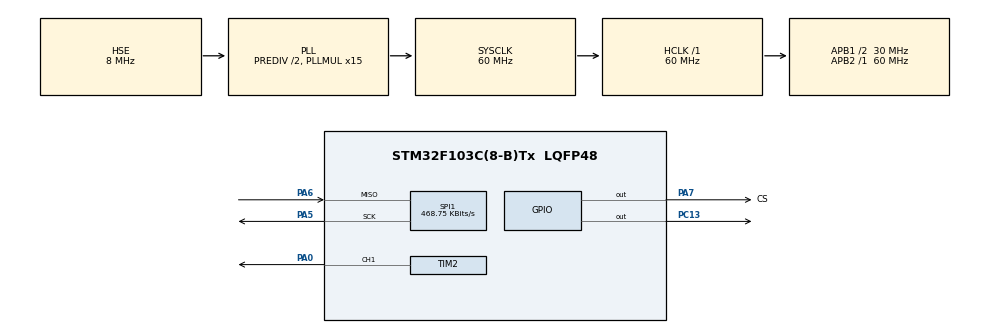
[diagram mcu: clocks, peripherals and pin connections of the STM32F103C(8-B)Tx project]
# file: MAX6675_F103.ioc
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Mcu.Family=STM32F1
Mcu.Name=STM32F103C(8-B)Tx
Mcu.Package=LQFP48
NVIC.PriorityGroup=NVIC_PRIORITYGROUP_4
NVIC.TIM2_IRQn=true\:0\:0\:false\:false\:true\:true\:true
PA0-WKUP.Signal=S_TIM2_CH1_ETR
PA13.Mode=Serial_Wire
PA13.Signal=SYS_JTMS-SWDIO
PA14.Mode=Serial_Wire
PA14.Signal=SYS_JTCK-SWCLK
PA5.Mode=RX_Only_Simplex_Unidirect_Master
PA5.Signal=SPI1_SCK
PA6.Mode=RX_Only_Simplex_Unidirect_Master
PA6.Signal=SPI1_MISO
PA7.GPIO_Label=CS
PA7.Signal=GPIO_Output
PC13-TAMPER-RTC.Signal=GPIO_Output
PD0-OSC_IN.Mode=HSE-External-Oscillator
PD0-OSC_IN.Signal=RCC_OSC_IN
PD1-OSC_OUT.Mode=HSE-External-Oscillator
PD1-OSC_OUT.Signal=RCC_OSC_OUT
ProjectManager.HeapSize=0x200
ProjectManager.StackSize=0x400
ProjectManager.TargetToolchain=MDK-ARM V5.27
RCC.AHBFreq_Value=60000000
RCC.APB1CLKDivider=RCC_HCLK_DIV2
RCC.APB1Freq_Value=30000000
RCC.APB1TimFreq_Value=60000000
RCC.APB2Freq_Value=60000000
RCC.APB2TimFreq_Value=60000000
RCC.HCLKFreq_Value=60000000
RCC.HSEDivPLL=RCC_HSE_PREDIV_DIV2
RCC.PLLMUL=RCC_PLL_MUL15
RCC.PLLSourceVirtual=RCC_PLLSOURCE_HSE
RCC.SYSCLKFreq_VALUE=60000000
RCC.SYSCLKSource=RCC_SYSCLKSOURCE_PLLCLK
RCC.USBFreq_Value=60000000
SH.S_TIM2_CH1_ETR.0=TIM2_CH1,PWM Generation1 CH1
SPI1.BaudRatePrescaler=SPI_BAUDRATEPRESCALER_128
SPI1.CalculateBaudRate=468.75 KBits/s
SPI1.Direction=SPI_DIRECTION_2LINES_RXONLY
SPI1.Mode=SPI_MODE_MASTER
SPI1.VirtualType=VM_MASTER
TIM2.Channel-PWM\ Generation1\ CH1=TIM_CHANNEL_1
TIM2.Period=10000-1
TIM2.Prescaler=7200-1
TIM2.Pulse-PWM\ Generation1\ CH1=5000-1
VP_TIM2_VS_ClockSourceINT.Mode=Internal
board=custom

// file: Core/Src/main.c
/* USER CODE BEGIN Header */
/**
  ******************************************************************************
  * @file           : main.c
  * @brief          : Main program body
  ******************************************************************************
  * @attention
  *
  * <h2><center>&copy; Copyright (c) 2020 STMicroelectronics.
  * All rights reserved.</center></h2>
  *
  * This software component is licensed by ST under BSD 3-Clause license,
  * the "License"; You may not use this file except in compliance with the
  * License. You may obtain a copy of the License at:
  *                        opensource.org/licenses/BSD-3-Clause
  *
  ******************************************************************************
  */
/* USER CODE END Header */
#include "main.h"

SPI_HandleTypeDef hspi1;

TIM_HandleTypeDef htim2;

/* USER CODE BEGIN PV */
//ADC Variables
unsigned long ADC_Results[4];
unsigned char SampleADC;
uint32_t sample = 0;
unsigned int ADC_Sample_Counter;
unsigned long Avg_vBUS, Avg_vPOT;
unsigned int Desired_Temp;

//SPI Variables
unsigned char SampleTemperature,Spi_Ready;
unsigned int SPI_Sample_Counter;
uint8_t spirx_buff[2];
uint16_t temp=0;
uint16_t temperature=0;
unsigned char spi_recv_flag;

/* USER CODE END PV */

void SystemClock_Config(void);
static void MX_GPIO_Init(void);
static void MX_TIM2_Init(void);
static void MX_SPI1_Init(void);

int main(void)
{

  /* MCU Configuration--------------------------------------------------------*/

  /* Reset of all peripherals, Initializes the Flash interface and the Systick. */
  HAL_Init();

  /* Configure the system clock */
  SystemClock_Config();

  /* Initialize all configured peripherals */
  MX_GPIO_Init();
  MX_TIM2_Init();
  MX_SPI1_Init();
  /* USER CODE BEGIN 2 */
	/*if(HAL_TIM_PWM_Start(&htim3,TIM_CHANNEL_1)!= HAL_OK)
	{
	Error_Handler();
	}
	if(HAL_TIM_PWM_Start(&htim3,TIM_CHANNEL_2)!= HAL_OK)
	{
	Error_Handler();
	}	*/
	HAL_GPIO_WritePin(GPIOA,GPIO_PIN_7,GPIO_PIN_SET);
	HAL_TIM_Base_Start_IT(&htim2);
  //MX_GPIO_Init();
  /* USER CODE END 2 */

  /* Infinite loop */
  /* USER CODE BEGIN WHILE */
  while (1)
  {
		if(Spi_Ready == true)
	{
  HAL_GPIO_WritePin(GPIOA,GPIO_PIN_7,GPIO_PIN_RESET);
  HAL_Delay(1);
	if(HAL_SPI_Receive(&hspi1,(uint8_t *)spirx_buff,2,1)!= HAL_OK)
			{
				Error_Handler();
				HAL_GPIO_TogglePin(GPIOC,GPIO_PIN_13);
			}
	HAL_GPIO_WritePin(GPIOA,GPIO_PIN_7,GPIO_PIN_SET);
	temp =  spirx_buff[0]<<8;
	temp =  temp|spirx_buff[1];
	temp = temp>>3;
	temperature=temp*0.25;
	Spi_Ready = false;
	}
    /* USER CODE END WHILE */

  }
}

void SystemClock_Config(void)
{
  RCC_OscInitTypeDef RCC_OscInitStruct = {0};
  RCC_ClkInitTypeDef RCC_ClkInitStruct = {0};

  /** Initializes the RCC Oscillators according to the specified parameters
  * in the RCC_OscInitTypeDef structure.
  */
  RCC_OscInitStruct.OscillatorType = RCC_OSCILLATORTYPE_HSE;
  RCC_OscInitStruct.HSEState = RCC_HSE_ON;
  RCC_OscInitStruct.HSEPredivValue = RCC_HSE_PREDIV_DIV2;
  RCC_OscInitStruct.HSIState = RCC_HSI_ON;
  RCC_OscInitStruct.PLL.PLLState = RCC_PLL_ON;
  RCC_OscInitStruct.PLL.PLLSource = RCC_PLLSOURCE_HSE;
  RCC_OscInitStruct.PLL.PLLMUL = RCC_PLL_MUL15;
  if (HAL_RCC_OscConfig(&RCC_OscInitStruct) != HAL_OK)
  {
    Error_Handler();
  }
  /** Initializes the CPU, AHB and APB buses clocks
  */
  RCC_ClkInitStruct.ClockType = RCC_CLOCKTYPE_HCLK|RCC_CLOCKTYPE_SYSCLK
                              |RCC_CLOCKTYPE_PCLK1|RCC_CLOCKTYPE_PCLK2;
  RCC_ClkInitStruct.SYSCLKSource = RCC_SYSCLKSOURCE_PLLCLK;
  RCC_ClkInitStruct.AHBCLKDivider = RCC_SYSCLK_DIV1;
  RCC_ClkInitStruct.APB1CLKDivider = RCC_HCLK_DIV2;
  RCC_ClkInitStruct.APB2CLKDivider = RCC_HCLK_DIV1;

  if (HAL_RCC_ClockConfig(&RCC_ClkInitStruct, FLASH_LATENCY_2) != HAL_OK)
  {
    Error_Handler();
  }
}

static void MX_SPI1_Init(void)
{

  /* SPI1 parameter configuration*/
  hspi1.Instance = SPI1;
  hspi1.Init.Mode = SPI_MODE_MASTER;
  hspi1.Init.Direction = SPI_DIRECTION_2LINES_RXONLY;
  hspi1.Init.DataSize = SPI_DATASIZE_8BIT;
  hspi1.Init.CLKPolarity = SPI_POLARITY_LOW;
  hspi1.Init.CLKPhase = SPI_PHASE_1EDGE;
  hspi1.Init.NSS = SPI_NSS_SOFT;
  hspi1.Init.BaudRatePrescaler = SPI_BAUDRATEPRESCALER_128;
  hspi1.Init.FirstBit = SPI_FIRSTBIT_MSB;
  hspi1.Init.TIMode = SPI_TIMODE_DISABLE;
  hspi1.Init.CRCCalculation = SPI_CRCCALCULATION_DISABLE;
  hspi1.Init.CRCPolynomial = 10;
  if (HAL_SPI_Init(&hspi1) != HAL_OK)
  {
    Error_Handler();
  }

}

static void MX_TIM2_Init(void)
{

  TIM_ClockConfigTypeDef sClockSourceConfig = {0};
  TIM_MasterConfigTypeDef sMasterConfig = {0};
  TIM_OC_InitTypeDef sConfigOC = {0};

  htim2.Instance = TIM2;
  htim2.Init.Prescaler = 7200-1;
  htim2.Init.CounterMode = TIM_COUNTERMODE_UP;
  htim2.Init.Period = 10000-1;
  htim2.Init.ClockDivision = TIM_CLOCKDIVISION_DIV1;
  htim2.Init.AutoReloadPreload = TIM_AUTORELOAD_PRELOAD_DISABLE;
  if (HAL_TIM_Base_Init(&htim2) != HAL_OK)
  {
    Error_Handler();
  }
  sClockSourceConfig.ClockSource = TIM_CLOCKSOURCE_INTERNAL;
  if (HAL_TIM_ConfigClockSource(&htim2, &sClockSourceConfig) != HAL_OK)
  {
    Error_Handler();
  }
  if (HAL_TIM_PWM_Init(&htim2) != HAL_OK)
  {
    Error_Handler();
  }
  sMasterConfig.MasterOutputTrigger = TIM_TRGO_RESET;
  sMasterConfig.MasterSlaveMode = TIM_MASTERSLAVEMODE_DISABLE;
  if (HAL_TIMEx_MasterConfigSynchronization(&htim2, &sMasterConfig) != HAL_OK)
  {
    Error_Handler();
  }
  sConfigOC.OCMode = TIM_OCMODE_PWM1;
  sConfigOC.Pulse = 5000-1;
  sConfigOC.OCPolarity = TIM_OCPOLARITY_HIGH;
  sConfigOC.OCFastMode = TIM_OCFAST_DISABLE;
  if (HAL_TIM_PWM_ConfigChannel(&htim2, &sConfigOC, TIM_CHANNEL_1) != HAL_OK)
  {
    Error_Handler();
  }
  HAL_TIM_MspPostInit(&htim2);

}

static void MX_GPIO_Init(void)
{
  GPIO_InitTypeDef GPIO_InitStruct = {0};

  /* GPIO Ports Clock Enable */
  __HAL_RCC_GPIOC_CLK_ENABLE();
  __HAL_RCC_GPIOD_CLK_ENABLE();
  __HAL_RCC_GPIOA_CLK_ENABLE();

  /*Configure GPIO pin Output Level */
  HAL_GPIO_WritePin(GPIOC, GPIO_PIN_13, GPIO_PIN_RESET);

  /*Configure GPIO pin Output Level */
  HAL_GPIO_WritePin(CS_GPIO_Port, CS_Pin, GPIO_PIN_RESET);

  /*Configure GPIO pin : PC13 */
  GPIO_InitStruct.Pin = GPIO_PIN_13;
  GPIO_InitStruct.Mode = GPIO_MODE_OUTPUT_PP;
  GPIO_InitStruct.Pull = GPIO_NOPULL;
  GPIO_InitStruct.Speed = GPIO_SPEED_FREQ_LOW;
  HAL_GPIO_Init(GPIOC, &GPIO_InitStruct);

  /*Configure GPIO pin : CS_Pin */
  GPIO_InitStruct.Pin = CS_Pin;
  GPIO_InitStruct.Mode = GPIO_MODE_OUTPUT_PP;
  GPIO_InitStruct.Pull = GPIO_NOPULL;
  GPIO_InitStruct.Speed = GPIO_SPEED_FREQ_LOW;
  HAL_GPIO_Init(CS_GPIO_Port, &GPIO_InitStruct);

}

/* USER CODE BEGIN 4 */
void HAL_TIM_PeriodElapsedCallback(TIM_HandleTypeDef *htim)
{
	Spi_Ready = true;
}
/* USER CODE END 4 */

void Error_Handler(void)
{
}

/************************ (C) COPYRIGHT STMicroelectronics *****END OF FILE****/
